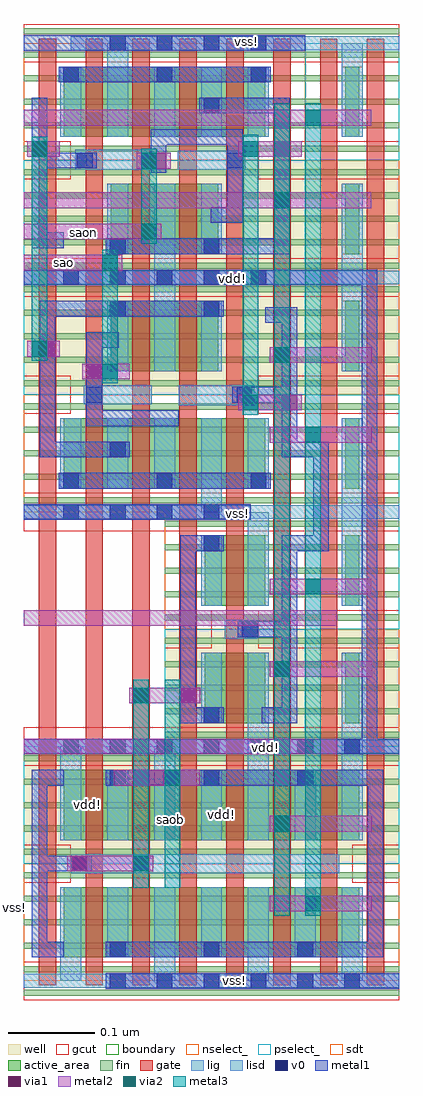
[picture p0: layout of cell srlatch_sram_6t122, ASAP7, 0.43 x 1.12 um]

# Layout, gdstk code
from math import pi, radians
import gdstk
lib = gdstk.Library(unit=1e-6, precision=2.5e-10)
def R(c, l, rs):  # rectangles x0, y0, x1, y1
    for r in rs: c.add(gdstk.rectangle(r[:2], r[2:], *l))
def A(c, l, x, y, w, h, nx, ny, dx, dy):  # array of equal rectangles
    R(c, l, [(x+i*dx, y+j*dy, x+i*dx+w, y+j*dy+h) for i in range(nx) for j in range(ny)])
def P(c, l, *ps):  # polygons
    for p in ps: c.add(gdstk.Polygon(p, *l))
well = (1, 0)
fin = (2, 0)
gate = (7, 0)
gcut = (10, 0)
active_area = (11, 0)
nselect_ = (12, 0)
pselect_ = (13, 0)
lig = (16, 0)
lisd = (17, 0)
v0 = (18, 0)
metal1 = (19, 0)
metal2 = (20, 0)
via1 = (21, 0)
via2 = (25, 0)
metal3 = (30, 0)
sdt = (88, 0)
boundary = (100, 0)

io_inv_18f = lib.new_cell('io_inv_18f')
R(io_inv_18f, well, [(0,0.135,0.432,0.27)])
A(io_inv_18f, fin, 0, 0.01, 0.432, 0.007, 1, 10, 0, 0.027)
A(io_inv_18f, gate, 0.017, -0.005, 0.02, 0.2805, 8, 1, 0.054, 0)
R(io_inv_18f, gcut, [(0,-0.022,0.432,0.022), (0,0.113,0.054,0.157), (0.378,0.113,0.432,0.157), (0,0.248,0.432,0.292)])
R(io_inv_18f, active_area, [(0.046,0.027,0.386,0.108), (0.046,0.162,0.386,0.243)])
R(io_inv_18f, nselect_, [(0,0,0.432,0.135)])
R(io_inv_18f, pselect_, [(0,0.135,0.432,0.27)])
R(io_inv_18f, lig, [(0,-0.008,0.432,0.008), (0.054,0.124,0.363,0.146), (0,0.262,0.432,0.278)])
A(io_inv_18f, lisd, 0.042, 0, 0.024, 0.108, 4, 2, 0.108, 0.162)
A(io_inv_18f, lisd, 0.096, 0.027, 0.024, 0.081, 3, 2, 0.108, 0.135)
A(io_inv_18f, v0, 0.099, -0.009, 0.018, 0.018, 6, 1, 0.054, 0)
A(io_inv_18f, v0, 0.099, 0.027, 0.018, 0.018, 3, 2, 0.108, 0.198)
A(io_inv_18f, v0, 0.045, 0.261, 0.018, 0.018, 7, 1, 0.054, 0)
R(io_inv_18f, v0, [(0.055,0.126,0.073,0.144)])
R(io_inv_18f, metal1, [(0.094,-0.009,0.432,0.009), (0,0.261,0.432,0.279)])
P(io_inv_18f, metal1, [(0.094,0.027),(0.094,0.045),(0.396,0.045),(0.396,0.225),(0.094,0.225),(0.094,0.243),(0.414,0.243),(0.414,0.027)],
  [(0.009,0.027),(0.009,0.243),(0.046,0.243),(0.046,0.225),(0.027,0.225),(0.027,0.144),(0.078,0.144),(0.078,0.126),(0.027,0.126),(0.027,0.045),(0.046,0.045),(0.046,0.027)])
A(io_inv_18f, sdt, 0.042, 0.027, 0.024, 0.081, 7, 2, 0.054, 0.135)
R(io_inv_18f, boundary, [(0,0,0.432,0.27)])
io_inv_18f.add(gdstk.Label('Y', (0.4035,0.1475), layer=19, texttype=251))
io_inv_18f.add(gdstk.Label('A', (0.066,0.1355), layer=19, texttype=251))

io_nand_3f_6f = lib.new_cell('io_nand_3f_6f')
R(io_nand_3f_6f, well, [(0,0.135,0.324,0.27)])
A(io_nand_3f_6f, fin, 0, 0.01, 0.324, 0.007, 1, 10, 0, 0.027)
A(io_nand_3f_6f, gate, 0.017, -0.005, 0.02, 0.28, 6, 1, 0.054, 0)
R(io_nand_3f_6f, gcut, [(0,-0.022,0.324,0.022), (0,0.113,0.054,0.157), (0.27,0.113,0.324,0.157), (0,0.248,0.324,0.292)])
R(io_nand_3f_6f, active_area, [(0.046,0.027,0.278,0.108), (0.1,0.162,0.224,0.243)])
R(io_nand_3f_6f, nselect_, [(0,0,0.324,0.135)])
R(io_nand_3f_6f, pselect_, [(0,0.135,0.324,0.27)])
R(io_nand_3f_6f, lig, [(0.054,-0.008,0.324,0.008), (0.059,0.123,0.146,0.146), (0.177,0.124,0.255,0.146), (0,0.262,0.324,0.278)])
A(io_nand_3f_6f, lisd, 0.15, 0.027, 0.024, 0.081, 3, 1, 0.054, 0)
R(io_nand_3f_6f, lisd, [(0.096,0,0.12,0.108), (0.042,0.027,0.066,0.108), (0.096,0.162,0.12,0.243), (0.15,0.162,0.174,0.27), (0.204,0.162,0.228,0.243)])
A(io_nand_3f_6f, v0, 0.099, -0.009, 0.018, 0.018, 4, 2, 0.054, 0.27)
A(io_nand_3f_6f, v0, 0.045, 0.027, 0.018, 0.018, 3, 1, 0.108, 0)
R(io_nand_3f_6f, v0, [(0.207,0.063,0.225,0.081), (0.061,0.126,0.079,0.144), (0.234,0.126,0.252,0.144), (0.099,0.225,0.117,0.243), (0.207,0.225,0.225,0.243)])
R(io_nand_3f_6f, metal1, [(0.063,-0.009,0.324,0.009), (0.04,0.027,0.284,0.045), (0,0.261,0.324,0.279), (0.063,0.261,0.324,0.279)])
P(io_nand_3f_6f, metal1, [(0.009,0.063),(0.009,0.236),(0.046,0.236),(0.046,0.218),(0.027,0.218),(0.027,0.144),(0.084,0.144),(0.084,0.126),(0.027,0.126),(0.027,0.063)],
  [(0.146,0.099),(0.146,0.117),(0.234,0.117),(0.234,0.189),(0.215,0.189),(0.215,0.207),(0.252,0.207),(0.252,0.099)],
  [(0.202,0.063),(0.202,0.081),(0.288,0.081),(0.288,0.225),(0.094,0.225),(0.094,0.243),(0.306,0.243),(0.306,0.063)])
A(io_nand_3f_6f, sdt, 0.042, 0.027, 0.024, 0.081, 5, 1, 0.054, 0)
A(io_nand_3f_6f, sdt, 0.096, 0.162, 0.024, 0.081, 3, 1, 0.054, 0)
R(io_nand_3f_6f, boundary, [(0,0,0.324,0.27)])
io_nand_3f_6f.add(gdstk.Label('A', (0.07,0.136), layer=19, texttype=251))
io_nand_3f_6f.add(gdstk.Label('vss!', (0.1625,-0.0015), layer=19, texttype=251))
io_nand_3f_6f.add(gdstk.Label('vdd!', (0.138,0.266), layer=19, texttype=251))
io_nand_3f_6f.add(gdstk.Label('Y', (0.298,0.145), layer=19, texttype=251))
io_nand_3f_6f.add(gdstk.Label('B', (0.24,0.152), layer=19, texttype=251))

io_inv_3f = lib.new_cell('io_inv_3f')
R(io_inv_3f, well, [(0,0.135,0.162,0.27)])
A(io_inv_3f, fin, 0, 0.01, 0.162, 0.007, 1, 10, 0, 0.027)
A(io_inv_3f, gate, 0.017, -0.005, 0.02, 0.2805, 3, 1, 0.054, 0)
R(io_inv_3f, gcut, [(0,-0.022,0.162,0.022), (0,0.113,0.054,0.157), (0.108,0.113,0.162,0.157), (0,0.248,0.162,0.292)])
R(io_inv_3f, active_area, [(0.046,0.027,0.116,0.108), (0.046,0.162,0.116,0.243)])
R(io_inv_3f, nselect_, [(0,0,0.162,0.135)])
R(io_inv_3f, pselect_, [(0,0.135,0.162,0.27)])
R(io_inv_3f, lig, [(0,-0.008,0.162,0.008), (0.054,0.124,0.093,0.146), (0,0.262,0.162,0.278)])
R(io_inv_3f, lisd, [(0.042,0,0.066,0.108), (0.096,0.027,0.12,0.108), (0.042,0.162,0.066,0.27), (0.096,0.162,0.12,0.243)])
R(io_inv_3f, v0, [(0.099,-0.009,0.117,0.009), (0.099,0.027,0.117,0.045), (0.055,0.126,0.073,0.144), (0.099,0.225,0.117,0.243), (0.099,0.261,0.117,0.279)])
R(io_inv_3f, metal1, [(0.063,-0.009,0.162,0.009), (0.009,0.225,0.05,0.243), (0.063,0.261,0.162,0.279)])
P(io_inv_3f, metal1, [(0.094,0.027),(0.094,0.045),(0.126,0.045),(0.126,0.225),(0.094,0.225),(0.094,0.243),(0.144,0.243),(0.144,0.027)],
  [(0.009,0.027),(0.009,0.243),(0.027,0.243),(0.027,0.144),(0.078,0.144),(0.078,0.126),(0.027,0.126),(0.027,0.027)])
R(io_inv_3f, sdt, [(0.042,0.027,0.066,0.108), (0.096,0.027,0.12,0.108), (0.042,0.162,0.066,0.243), (0.096,0.162,0.12,0.243)])
R(io_inv_3f, boundary, [(0,0,0.162,0.27)])
io_inv_3f.add(gdstk.Label('Y', (0.1355,0.1145), layer=19, texttype=251))
io_inv_3f.add(gdstk.Label('A', (0.047,0.1365), layer=19, texttype=251))
io_inv_3f.add(gdstk.Label('vss!', (0.091,-0.0025), layer=19, texttype=251))

io_tapcell = lib.new_cell('io_tapcell')
R(io_tapcell, well, [(-0.027,0.135,0.081,0.27)])
A(io_tapcell, fin, -0.027, 0.01, 0.108, 0.007, 1, 10, 0, 0.027)
R(io_tapcell, gate, [(-0.01,-0.005,0.01,0.275), (0.044,-0.005,0.064,0.275)])
A(io_tapcell, gcut, -0.027, -0.022, 0.108, 0.044, 1, 3, 0, 0.135)
R(io_tapcell, active_area, [(0.019,0.027,0.035,0.108), (0.019,0.162,0.035,0.243)])
R(io_tapcell, nselect_, [(-0.027,0.135,0.081,0.27)])
R(io_tapcell, pselect_, [(-0.027,0,0.081,0.135)])
R(io_tapcell, lig, [(-0.027,-0.008,0.081,0.008), (-0.027,0.262,0.081,0.278)])
R(io_tapcell, lisd, [(0.015,0,0.039,0.108), (0.015,0.162,0.039,0.27)])
R(io_tapcell, sdt, [(0.015,0.027,0.039,0.108), (0.015,0.162,0.039,0.243)])
R(io_tapcell, boundary, [(-0.027,0,0.081,0.27)])

srlatch_sram_6t122 = lib.new_cell('srlatch_sram_6t122')
R(srlatch_sram_6t122, fin, [(0,-0.017,0.432,-0.01), (0,1.09,0.432,1.097)])
A(srlatch_sram_6t122, gate, 0.017, 0.27, 0.02, 0.27, 3, 1, 0.054, 0)
R(srlatch_sram_6t122, metal1, [(0.389,0.261,0.407,0.819), (0.297,0.495,0.351,0.513), (0.333,0.495,0.351,0.62), (0.297,0.603,0.351,0.621), (0.316,0.801,0.407,0.819), (0.146,0.9305,0.164,0.981), (0,1.071,0.063,1.089)])
R(srlatch_sram_6t122, metal2, [(0.283,0.08,0.4005,0.098), (0.05,0.126,0.149,0.144), (0.283,0.172,0.4005,0.19), (0.1035,0.225,0.2025,0.243), (0,0.261,0.36,0.279), (0.121,0.3195,0.203,0.3375), (0.283,0.35,0.401,0.368), (0,0.409,0.36,0.427), (0.283,0.445,0.4,0.463), (0.283,0.62,0.4005,0.638), (0.247,0.657,0.32,0.675), (0.067,0.693,0.122,0.711), (0.283,0.712,0.4005,0.73), (0.004,0.719,0.041,0.737), (0,0.818,0.113,0.836), (0,0.854,0.158,0.872), (0,0.89,0.4,0.908), (0.13,0.9355,0.169,0.9535), (0.004,0.949,0.041,0.967), (0.247,0.949,0.32,0.967), (0,0.985,0.4,1.003)])
R(srlatch_sram_6t122, via1, [(0.055,0.126,0.073,0.144), (0.144,0.225,0.162,0.243), (0.18,0.3195,0.198,0.3375), (0.297,0.657,0.315,0.675), (0.072,0.693,0.09,0.711), (0.018,0.719,0.036,0.737), (0.146,0.9355,0.164,0.9535), (0.009,0.949,0.027,0.967), (0.288,0.949,0.306,0.967)])
R(srlatch_sram_6t122, via2, [(0.324,0.08,0.342,0.098), (0.126,0.126,0.144,0.144), (0.288,0.172,0.306,0.19), (0.162,0.225,0.18,0.243), (0.126,0.3195,0.144,0.3375), (0.288,0.35,0.306,0.368), (0.324,0.445,0.342,0.463), (0.324,0.62,0.342,0.638), (0.252,0.657,0.27,0.675), (0.09,0.693,0.108,0.711), (0.288,0.712,0.306,0.73), (0.009,0.719,0.027,0.737), (0.09,0.818,0.108,0.836), (0.135,0.854,0.153,0.872), (0.288,0.89,0.306,0.908), (0.135,0.9355,0.153,0.9535), (0.009,0.949,0.027,0.967), (0.252,0.949,0.27,0.967), (0.324,0.985,0.342,1.003)])
R(srlatch_sram_6t122, metal3, [(0.288,0.075,0.306,1.0105), (0.324,0.075,0.342,1.0105), (0.126,0.1075,0.144,0.347), (0.162,0.1075,0.18,0.347), (0.252,0.652,0.27,0.9745), (0.09,0.6885,0.108,0.842), (0.009,0.714,0.027,0.972), (0.135,0.849,0.153,0.9585)])
srlatch_sram_6t122.add(gdstk.Reference(io_inv_18f, (0,0)))
srlatch_sram_6t122.add(gdstk.Reference(io_nand_3f_6f, (0,1.08), x_reflection=True))
srlatch_sram_6t122.add(gdstk.Reference(io_nand_3f_6f, (0.324,0.54), rotation=pi, x_reflection=True))
srlatch_sram_6t122.add(gdstk.Reference(io_inv_3f, (0.324,0.54), rotation=pi))
srlatch_sram_6t122.add(gdstk.Reference(io_tapcell, (0.351,0.54)))
srlatch_sram_6t122.add(gdstk.Reference(io_tapcell, (0.351,1.08), x_reflection=True))
srlatch_sram_6t122.add(gdstk.Reference(io_tapcell, (0.351,0.54), x_reflection=True))
srlatch_sram_6t122.add(gdstk.Label('saon', (0.0685,0.862), layer=20, texttype=251))
srlatch_sram_6t122.add(gdstk.Label('sao', (0.0455,0.8275), layer=20, texttype=251))
srlatch_sram_6t122.add(gdstk.Label('vss!', (-0.0245,0.084), layer=3, texttype=251))
srlatch_sram_6t122.add(gdstk.Label('vdd!', (0.0735,0.2035), layer=1, texttype=251))
srlatch_sram_6t122.add(gdstk.Label('vdd!', (0.228,0.1915), layer=1, texttype=251))
srlatch_sram_6t122.add(gdstk.Label('vss!', (0.2425,0.001), layer=19, texttype=251))
srlatch_sram_6t122.add(gdstk.Label('vdd!', (0.2785,0.269), layer=19, texttype=251))
srlatch_sram_6t122.add(gdstk.Label('vss!', (0.2455,0.5385), layer=19, texttype=251))
srlatch_sram_6t122.add(gdstk.Label('vss!', (0.256,1.082), layer=19, texttype=251))
srlatch_sram_6t122.add(gdstk.Label('vdd!', (0.24,0.8085), layer=19, texttype=251))
srlatch_sram_6t122.add(gdstk.Label('saob', (0.1685,0.186), layer=30, texttype=251))

lib.write_gds('srlatch_sram_6t122.gds')
